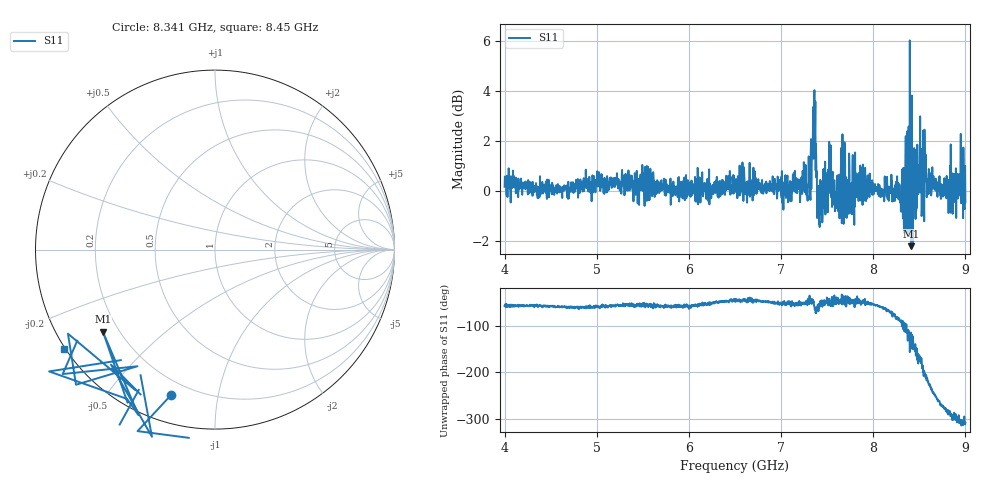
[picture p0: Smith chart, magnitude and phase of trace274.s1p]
! Created with skrf 1.8.0 (http://scikit-rf.org).
# Hz S RI R 50.0
!freq ReS11 ImS11
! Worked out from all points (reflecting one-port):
!   1601 points, 4 GHz to 9 GHz, reference 50 ohm
!   lowest |S11| = -2.2 dB at 8.412 GHz (marker M1), VSWR 7.85, Z = 7.04 - j16.1 ohm
!   phase of S11 starts at -57 deg and turns -251 deg over the sweep
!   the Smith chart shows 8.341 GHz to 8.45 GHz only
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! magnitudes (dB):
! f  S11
! 4 GHz  0.2
! 4.625 GHz  -0.3
! 5.25 GHz  0.0
! 5.875 GHz  0.0
! 6.5 GHz  0.1
! 7.125 GHz  0.1
! 7.294 GHz  0.2
! 7.356 GHz  3.0
! 7.381 GHz  1.4
! 7.4 GHz  -0.7
! 7.416 GHz  -1.2
! 7.516 GHz  0.6
! 7.609 GHz  0.6
! 7.669 GHz  1.6
! 7.722 GHz  0.3
! 7.75 GHz  -0.6
! 7.856 GHz  0.5
! 8.262 GHz  0.0
! 8.316 GHz  -0.4
! 8.356 GHz  1.6
! 8.375 GHz  -1.3
! 8.412 GHz  -2.2
! 8.481 GHz  0.8
! 8.522 GHz  1.0
! 8.606 GHz  0.0
! 8.812 GHz  0.4
! 8.959 GHz  1.6
! 9 GHz  -0.5
